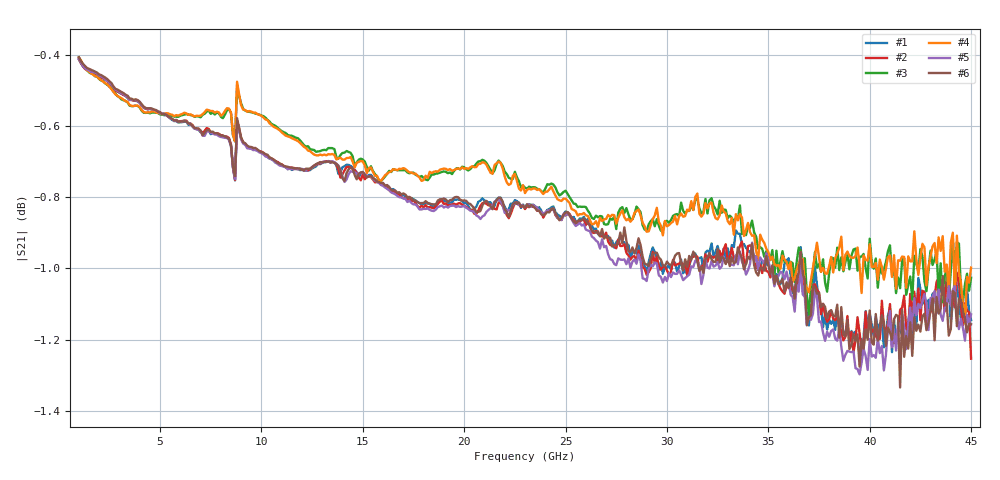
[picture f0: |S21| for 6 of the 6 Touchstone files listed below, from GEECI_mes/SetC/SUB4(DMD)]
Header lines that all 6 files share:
!Keysight Technologies,N5247B,MY61255062,A.19.80.06
!Correction: S11(Cdelta 2-Port  )
!S21(Cdelta 2-Port  )
!S12(Cdelta 2-Port  )
!S22(Cdelta 2-Port  )
!S2P File: Measurements: S11, S21, S12, S22:
# Hz S  dB  R 50
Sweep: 1 GHz to 45 GHz
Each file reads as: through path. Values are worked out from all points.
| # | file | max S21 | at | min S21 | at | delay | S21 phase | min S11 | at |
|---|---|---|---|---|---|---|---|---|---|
| 1 | floating_die_TN1.s2p | -0.41 dB | 1 GHz | -1.3 dB | 39.6 GHz | 56.5 ps | -109 deg at 23 GHz | -47.2 dB | 24.3 GHz |
| 2 | floating_die_TN2.s2p | -0.41 dB | 1 GHz | -1.3 dB | 45 GHz | 56.7 ps | -111 deg at 23 GHz | -45.6 dB | 43.7 GHz |
| 3 | thru_ref_nos1.s2p | -0.41 dB | 1 GHz | -1.1 dB | 37 GHz | 49.9 ps | -54 deg at 23 GHz | -31.6 dB | 10.8 GHz |
| 4 | thru_ref_nos2.s2p | -0.41 dB | 1 GHz | -1.2 dB | 44.7 GHz | 49.9 ps | -54 deg at 23 GHz | -43.2 dB | 43 GHz |
| 5 | TN4.s2p | -0.41 dB | 1 GHz | -1.3 dB | 39.5 GHz | 56.9 ps | -113 deg at 23 GHz | -54.3 dB | 24.1 GHz |
| 6 | TN5.s2p | -0.41 dB | 1 GHz | -1.3 dB | 41.5 GHz | 57 ps | -113 deg at 23 GHz | -50.1 dB | 24.9 GHz |
